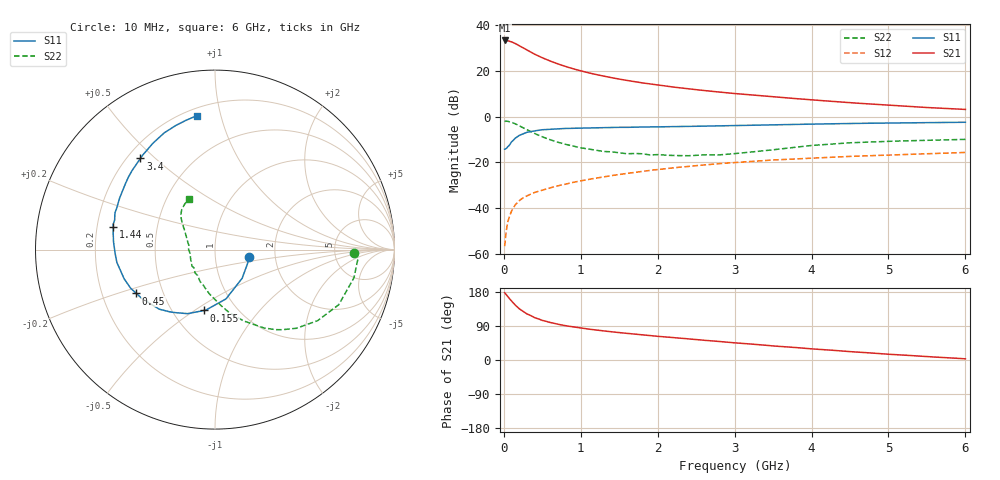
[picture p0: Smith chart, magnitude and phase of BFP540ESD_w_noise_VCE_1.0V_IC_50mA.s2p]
! Infineon Technologies  Discrete & RF Semiconductors
! BFP540ESD
! VCE =  1.0 V,  IC =  50 mA
! Common Emitter S-Parameters:  Nov 2015
# GHz  S  MA  R  50
!  f  S11  S21  S12  S22
! GHz  MAG  ANG  MAG  ANG  MAG  ANG  MAG  ANG
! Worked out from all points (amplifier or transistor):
!   210 points, 10 MHz to 6 GHz, reference 50 ohm
!   highest |S21| = 33.2 dB at 10 MHz (marker M1)
!   |S21| within 3 dB of that: start of sweep to 238.1 MHz
!   unconditionally stable (mu >= 1): start of sweep to 39.16 MHz; 1.026 GHz to end of sweep
!   at 185 MHz: K = 0.51, MSG = 34.2 dB, |S12| = -37.2 dB
!   at 1.52 GHz: K = 1.09, MAG = 18.8 dB, |S12| = -25.2 dB
!   at 6 GHz: K = 1.17, MAG = 6.9 dB, |S12| = -15.6 dB
!   lowest NFmin = 1.82 dB at 900 MHz
!   S11 on the Smith chart (normalised r, x): 10 MHz: 1.47, -0.12; 155 MHz: 0.71, -0.55; 450 MHz: 0.35, -0.23; 1.44 GHz: 0.27, +0.10; 3.4 GHz: 0.25, +0.45; 6 GHz: 0.25, +0.84
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0.01  0.1947 -11.6  45.63 177.7  0.0015 126.5  0.7737 -1.4
0.05  0.2201 -46.6  45.09 167.5  0.0049 89.7  0.79 -11.5
0.1  0.2817 -77.5  42.67 155.2  0.0087 76.0  0.7547 -24.0
0.15  0.3412 -98.7  39.05 144.3  0.012 70.3  0.6955 -34.7
0.155  0.3448 -100.3  38.63 143.5  0.0123 69.7  0.6883 -35.5
0.2  0.388 -113.1  35.18 135.3  0.0146 65.6  0.6309 -44.0
0.24  0.4158 -122.4  32.16 129.4  0.0165 62.3  0.5827 -50.0
0.3  0.455 -133.2  28.21 121.6  0.0187 59.7  0.5157 -57.9
0.4  0.4901 -146.2  22.92 111.8  0.0222 58.3  0.4278 -68.2
0.45  0.5018 -150.9  20.98 108.5  0.0235 57.8  0.3937 -72.2
0.5  0.5168 -155.4  19.12 104.5  0.0249 57.4  0.3619 -77.0
0.54  0.5219 -158.2  17.95 102.5  0.0261 57.8  0.3419 -79.5
0.7  0.5405 -167.9  14.09 94.4  0.031 58.4  0.2767 -90.3
0.8  0.5515 -172.6  12.36 90.5  0.0336 58.5  0.2491 -97.1
1.02  0.5613 179.1  9.728 83.8  0.0403 58.9  0.2065 -109.4
1.44  0.5809 167.4  6.846 73.6  0.0529 57.6  0.1676 -132.1
2.02  0.598 154.7  4.814 62.2  0.0705 54.1  0.1475 -156.0
3.1  0.6418 134.6  3.081 43.9  0.1024 44.7  0.1617 161.9
3.4  0.6565 129.3  2.788 39.0  0.1105 41.5  0.1816 153.2
4.1  0.6899 118.9  2.252 28.1  0.1262 34.5  0.2413 139.8
5.1  0.7276 106.5  1.733 14.1  0.1469 25.1  0.2928 128.4
6  0.7523 97.8  1.433 3.1  0.1655 17.8  0.3188 117.1
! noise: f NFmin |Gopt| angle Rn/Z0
0.9  1.82  0.49  -140  0.15
1.8  1.97  0.51  -142  0.15
2.4  2.02  0.52  -132  0.19
3  2.14  0.54  -123  0.26
4  2.19  0.61  -102  0.45
5  2.28  0.69  -86  0.67
6  2.72  0.63  -83  1.04
